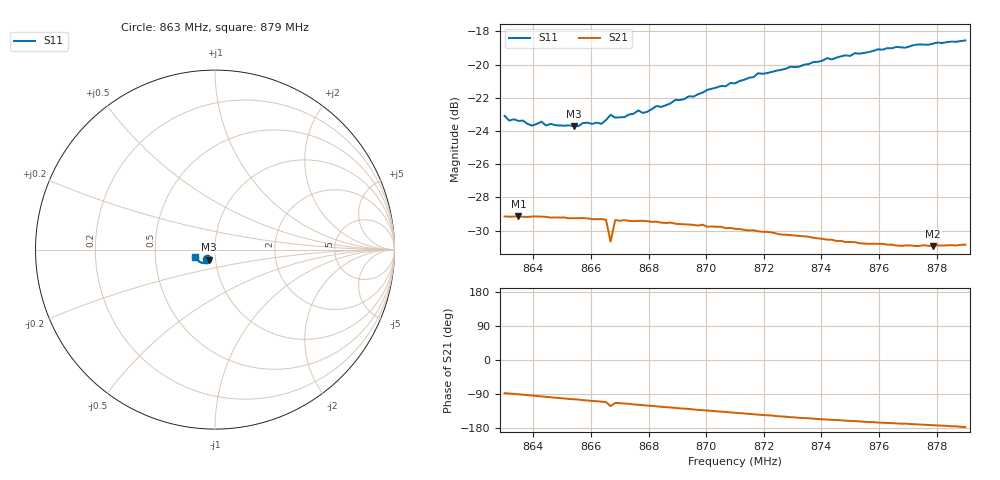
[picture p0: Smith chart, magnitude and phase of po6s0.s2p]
# HZ S RI R 50
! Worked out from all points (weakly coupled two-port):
!   101 points, 863 MHz to 879 MHz, reference 50 ohm
!   highest |S21| = -29.13 dB at 863.48 MHz (marker M1); lowest = -30.9 dB at 877.88 MHz (marker M2)
!   lowest |S11| = -23.7 dB at 865.4 MHz (marker M3), VSWR 1.14, Z = 46.4 - j5.14 ohm
!   |S11| at or under -10 dB: start of sweep to end of sweep
!   S12 and S22 are empty: the file has one direction only
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8.63e8  -0.0448 -0.0539  0.00155 -0.0349  0 0  0 0
8.6316e8  -0.0443 -0.0513  0.000918 -0.0348  0 0  0 0
8.6348e8  -0.0427 -0.0525  -0.000426 -0.0349  0 0  0 0
8.6396e8  -0.0398 -0.052  -0.00234 -0.0348  0 0  0 0
8.6428e8  -0.039 -0.0548  -0.00376 -0.0347  0 0  0 0
8.6444e8  -0.0389 -0.0528  -0.00437 -0.0345  0 0  0 0
8.654e8  -0.0347 -0.0552  -0.00808 -0.0335  0 0  0 0
8.6572e8  -0.034 -0.0573  -0.00958 -0.0331  0 0  0 0
8.6636e8  -0.0331 -0.0574  -0.0116 -0.0322  0 0  0 0
8.6652e8  -0.0334 -0.0593  -0.0123 -0.0318  0 0  0 0
8.6668e8  -0.0376 -0.0597  -0.0154 -0.0249  0 0  0 0
8.6684e8  -0.0336 -0.0605  -0.0135 -0.0313  0 0  0 0
8.6796e8  -0.0345 -0.0633  -0.0171 -0.0291  0 0  0 0
8.6828e8  -0.0343 -0.0667  -0.018 -0.0284  0 0  0 0
8.6844e8  -0.0354 -0.0656  -0.0184 -0.0279  0 0  0 0
8.6892e8  -0.0371 -0.0688  -0.0196 -0.0268  0 0  0 0
8.71e8  -0.0469 -0.0742  -0.0243 -0.0209  0 0  0 0
8.718e8  -0.055 -0.0764  -0.0255 -0.0184  0 0  0 0
8.7372e8  -0.0684 -0.0754  -0.0272 -0.0128  0 0  0 0
8.7644e8  -0.0929 -0.0623  -0.0279 -0.00665  0 0  0 0
8.7788e8  -0.1041 -0.0505  -0.0281 -0.00385  0 0  0 0
8.79e8  -0.1111 -0.0403  -0.0287 -0.00147  0 0  0 0
